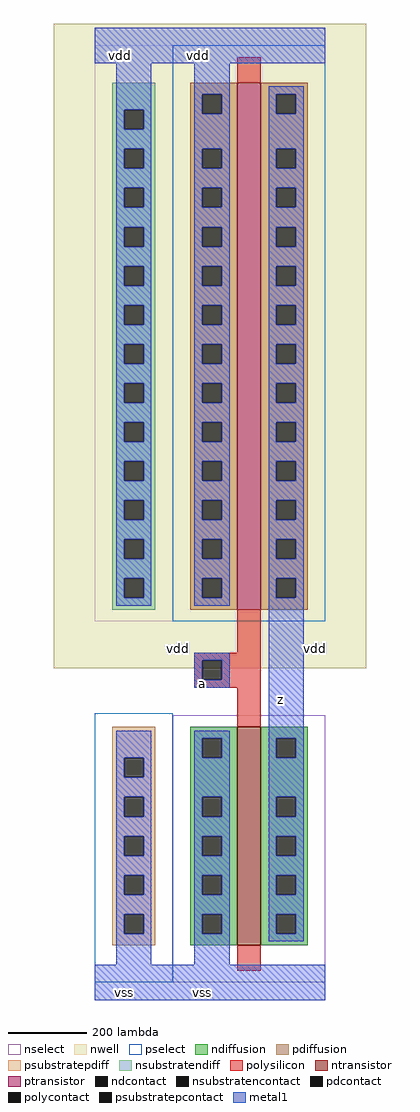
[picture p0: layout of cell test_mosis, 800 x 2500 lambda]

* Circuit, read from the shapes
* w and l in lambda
.subckt test_mosis z a vdd vss
M1 z a vss vss nfet w=560 l=60
M2 z a vdd vdd pfet w=1350 l=60
.ends

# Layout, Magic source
magic
tech amic5n
<< nwell >>
rect -105 805 695 2455
<< ntransistor >>
rect 365 95 425 655
<< ptransistor >>
rect 365 955 425 2305
<< nselect >>
rect 0 925 200 2400
rect 200 0 590 685
<< pselect >>
rect 200 925 590 2400
rect 0 0 200 690
<< ndiffusion >>
rect 245 625 365 655
rect 245 575 275 625
rect 325 575 365 625
rect 245 475 365 575
rect 245 425 275 475
rect 325 425 365 475
rect 245 375 365 425
rect 245 325 275 375
rect 325 325 365 375
rect 245 275 365 325
rect 245 225 275 275
rect 325 225 365 275
rect 245 175 365 225
rect 245 125 275 175
rect 325 125 365 175
rect 245 95 365 125
rect 425 625 545 655
rect 425 575 465 625
rect 515 575 545 625
rect 425 475 545 575
rect 425 425 465 475
rect 515 425 545 475
rect 425 375 545 425
rect 425 325 465 375
rect 515 325 545 375
rect 425 275 545 325
rect 425 225 465 275
rect 515 225 545 275
rect 425 175 545 225
rect 425 125 465 175
rect 515 125 545 175
rect 425 95 545 125
<< pdiffusion >>
rect 245 2275 365 2305
rect 245 2225 275 2275
rect 325 2225 365 2275
rect 245 2135 365 2225
rect 245 2085 275 2135
rect 325 2085 365 2135
rect 245 2035 365 2085
rect 245 1985 275 2035
rect 325 1985 365 2035
rect 245 1935 365 1985
rect 245 1885 275 1935
rect 325 1885 365 1935
rect 245 1835 365 1885
rect 245 1785 275 1835
rect 325 1785 365 1835
rect 245 1735 365 1785
rect 245 1685 275 1735
rect 325 1685 365 1735
rect 245 1635 365 1685
rect 245 1585 275 1635
rect 325 1585 365 1635
rect 245 1535 365 1585
rect 245 1485 275 1535
rect 325 1485 365 1535
rect 245 1435 365 1485
rect 245 1385 275 1435
rect 325 1385 365 1435
rect 245 1335 365 1385
rect 245 1285 275 1335
rect 325 1285 365 1335
rect 245 1235 365 1285
rect 245 1185 275 1235
rect 325 1185 365 1235
rect 245 1135 365 1185
rect 245 1085 275 1135
rect 325 1085 365 1135
rect 245 1035 365 1085
rect 245 985 275 1035
rect 325 985 365 1035
rect 245 955 365 985
rect 425 2275 545 2305
rect 425 2225 465 2275
rect 515 2225 545 2275
rect 425 2135 545 2225
rect 425 2085 465 2135
rect 515 2085 545 2135
rect 425 2035 545 2085
rect 425 1985 465 2035
rect 515 1985 545 2035
rect 425 1935 545 1985
rect 425 1885 465 1935
rect 515 1885 545 1935
rect 425 1835 545 1885
rect 425 1785 465 1835
rect 515 1785 545 1835
rect 425 1735 545 1785
rect 425 1685 465 1735
rect 515 1685 545 1735
rect 425 1635 545 1685
rect 425 1585 465 1635
rect 515 1585 545 1635
rect 425 1535 545 1585
rect 425 1485 465 1535
rect 515 1485 545 1535
rect 425 1435 545 1485
rect 425 1385 465 1435
rect 515 1385 545 1435
rect 425 1335 545 1385
rect 425 1285 465 1335
rect 515 1285 545 1335
rect 425 1235 545 1285
rect 425 1185 465 1235
rect 515 1185 545 1235
rect 425 1135 545 1185
rect 425 1085 465 1135
rect 515 1085 545 1135
rect 425 1035 545 1085
rect 425 985 465 1035
rect 515 985 545 1035
rect 425 955 545 985
<< psubstratepdiff >>
rect 45 575 155 655
rect 45 525 75 575
rect 125 525 155 575
rect 45 475 155 525
rect 45 425 75 475
rect 125 425 155 475
rect 45 375 155 425
rect 45 325 75 375
rect 125 325 155 375
rect 45 275 155 325
rect 45 225 75 275
rect 125 225 155 275
rect 45 175 155 225
rect 45 125 75 175
rect 125 125 155 175
rect 45 95 155 125
<< nsubstratendiff >>
rect 45 2235 155 2305
rect 45 2185 75 2235
rect 125 2185 155 2235
rect 45 2135 155 2185
rect 45 2085 75 2135
rect 125 2085 155 2135
rect 45 2035 155 2085
rect 45 1985 75 2035
rect 125 1985 155 2035
rect 45 1935 155 1985
rect 45 1885 75 1935
rect 125 1885 155 1935
rect 45 1835 155 1885
rect 45 1785 75 1835
rect 125 1785 155 1835
rect 45 1735 155 1785
rect 45 1685 75 1735
rect 125 1685 155 1735
rect 45 1635 155 1685
rect 45 1585 75 1635
rect 125 1585 155 1635
rect 45 1535 155 1585
rect 45 1485 75 1535
rect 125 1485 155 1535
rect 45 1435 155 1485
rect 45 1385 75 1435
rect 125 1385 155 1435
rect 45 1335 155 1385
rect 45 1285 75 1335
rect 125 1285 155 1335
rect 45 1235 155 1285
rect 45 1185 75 1235
rect 125 1185 155 1235
rect 45 1135 155 1185
rect 45 1085 75 1135
rect 125 1085 155 1135
rect 45 1035 155 1085
rect 45 985 75 1035
rect 125 985 155 1035
rect 45 955 155 985
<< nsubstratencontact >>
rect 75 2185 125 2235
rect 75 2085 125 2135
rect 75 1985 125 2035
rect 75 1885 125 1935
rect 75 1785 125 1835
rect 75 1685 125 1735
rect 75 1585 125 1635
rect 75 1485 125 1535
rect 75 1385 125 1435
rect 75 1285 125 1335
rect 75 1185 125 1235
rect 75 1085 125 1135
rect 75 985 125 1035
<< psubstratepcontact >>
rect 75 525 125 575
rect 75 425 125 475
rect 75 325 125 375
rect 75 225 125 275
rect 75 125 125 175
<< ndcontact >>
rect 275 575 325 625
rect 275 425 325 475
rect 275 325 325 375
rect 275 225 325 275
rect 275 125 325 175
rect 465 575 515 625
rect 465 425 515 475
rect 465 325 515 375
rect 465 225 515 275
rect 465 125 515 175
<< pdcontact >>
rect 275 2225 325 2275
rect 275 2085 325 2135
rect 275 1985 325 2035
rect 275 1885 325 1935
rect 275 1785 325 1835
rect 275 1685 325 1735
rect 275 1585 325 1635
rect 275 1485 325 1535
rect 275 1385 325 1435
rect 275 1285 325 1335
rect 275 1185 325 1235
rect 275 1085 325 1135
rect 275 985 325 1035
rect 465 2225 515 2275
rect 465 2085 515 2135
rect 465 1985 515 2035
rect 465 1885 515 1935
rect 465 1785 515 1835
rect 465 1685 515 1735
rect 465 1585 515 1635
rect 465 1485 515 1535
rect 465 1385 515 1435
rect 465 1285 515 1335
rect 465 1185 515 1235
rect 465 1085 515 1135
rect 465 985 515 1035
<< polysilicon >>
rect 365 2305 425 2370
rect 365 845 425 955
rect 255 825 425 845
rect 255 775 275 825
rect 325 775 425 825
rect 255 755 425 775
rect 365 655 425 755
rect 365 30 425 95
<< polycontact >>
rect 275 775 325 825
<< metal1 >>
rect 0 2355 590 2445
rect 55 2235 145 2355
rect 55 2185 75 2235
rect 125 2185 145 2235
rect 55 2135 145 2185
rect 55 2085 75 2135
rect 125 2085 145 2135
rect 55 2035 145 2085
rect 55 1985 75 2035
rect 125 1985 145 2035
rect 55 1935 145 1985
rect 55 1885 75 1935
rect 125 1885 145 1935
rect 55 1835 145 1885
rect 55 1785 75 1835
rect 125 1785 145 1835
rect 55 1735 145 1785
rect 55 1685 75 1735
rect 125 1685 145 1735
rect 55 1635 145 1685
rect 55 1585 75 1635
rect 125 1585 145 1635
rect 55 1535 145 1585
rect 55 1485 75 1535
rect 125 1485 145 1535
rect 55 1435 145 1485
rect 55 1385 75 1435
rect 125 1385 145 1435
rect 55 1335 145 1385
rect 55 1285 75 1335
rect 125 1285 145 1335
rect 55 1235 145 1285
rect 55 1185 75 1235
rect 125 1185 145 1235
rect 55 1135 145 1185
rect 55 1085 75 1135
rect 125 1085 145 1135
rect 55 1035 145 1085
rect 55 985 75 1035
rect 125 985 145 1035
rect 55 965 145 985
rect 255 2275 345 2355
rect 255 2225 275 2275
rect 325 2225 345 2275
rect 255 2135 345 2225
rect 255 2085 275 2135
rect 325 2085 345 2135
rect 255 2035 345 2085
rect 255 1985 275 2035
rect 325 1985 345 2035
rect 255 1935 345 1985
rect 255 1885 275 1935
rect 325 1885 345 1935
rect 255 1835 345 1885
rect 255 1785 275 1835
rect 325 1785 345 1835
rect 255 1735 345 1785
rect 255 1685 275 1735
rect 325 1685 345 1735
rect 255 1635 345 1685
rect 255 1585 275 1635
rect 325 1585 345 1635
rect 255 1535 345 1585
rect 255 1485 275 1535
rect 325 1485 345 1535
rect 255 1435 345 1485
rect 255 1385 275 1435
rect 325 1385 345 1435
rect 255 1335 345 1385
rect 255 1285 275 1335
rect 325 1285 345 1335
rect 255 1235 345 1285
rect 255 1185 275 1235
rect 325 1185 345 1235
rect 255 1135 345 1185
rect 255 1085 275 1135
rect 325 1085 345 1135
rect 255 1035 345 1085
rect 255 985 275 1035
rect 325 985 345 1035
rect 255 965 345 985
rect 445 2275 535 2295
rect 445 2225 465 2275
rect 515 2225 535 2275
rect 445 2135 535 2225
rect 445 2085 465 2135
rect 515 2085 535 2135
rect 445 2035 535 2085
rect 445 1985 465 2035
rect 515 1985 535 2035
rect 445 1935 535 1985
rect 445 1885 465 1935
rect 515 1885 535 1935
rect 445 1835 535 1885
rect 445 1785 465 1835
rect 515 1785 535 1835
rect 445 1735 535 1785
rect 445 1685 465 1735
rect 515 1685 535 1735
rect 445 1635 535 1685
rect 445 1585 465 1635
rect 515 1585 535 1635
rect 445 1535 535 1585
rect 445 1485 465 1535
rect 515 1485 535 1535
rect 445 1435 535 1485
rect 445 1385 465 1435
rect 515 1385 535 1435
rect 445 1335 535 1385
rect 445 1285 465 1335
rect 515 1285 535 1335
rect 445 1235 535 1285
rect 445 1185 465 1235
rect 515 1185 535 1235
rect 445 1135 535 1185
rect 445 1085 465 1135
rect 515 1085 535 1135
rect 445 1035 535 1085
rect 445 985 465 1035
rect 515 985 535 1035
rect 255 825 345 845
rect 255 775 275 825
rect 325 775 345 825
rect 255 755 345 775
rect 55 575 145 645
rect 55 525 75 575
rect 125 525 145 575
rect 55 475 145 525
rect 55 425 75 475
rect 125 425 145 475
rect 55 375 145 425
rect 55 325 75 375
rect 125 325 145 375
rect 55 275 145 325
rect 55 225 75 275
rect 125 225 145 275
rect 55 175 145 225
rect 55 125 75 175
rect 125 125 145 175
rect 55 45 145 125
rect 255 625 345 645
rect 255 575 275 625
rect 325 575 345 625
rect 255 475 345 575
rect 255 425 275 475
rect 325 425 345 475
rect 255 375 345 425
rect 255 325 275 375
rect 325 325 345 375
rect 255 275 345 325
rect 255 225 275 275
rect 325 225 345 275
rect 255 175 345 225
rect 255 125 275 175
rect 325 125 345 175
rect 255 45 345 125
rect 445 625 535 985
rect 445 575 465 625
rect 515 575 535 625
rect 445 475 535 575
rect 445 425 465 475
rect 515 425 535 475
rect 445 375 535 425
rect 445 325 465 375
rect 515 325 535 375
rect 445 275 535 325
rect 445 225 465 275
rect 515 225 535 275
rect 445 175 535 225
rect 445 125 465 175
rect 515 125 535 175
rect 445 105 535 125
rect 0 -45 590 45
<< labels >>
flabel metal1 s 75 -25 75 -25 2 FreeSans 400 0 0 0 vss
port 4 ne
flabel metal1 s 65 2375 65 2375 2 FreeSans 400 0 0 0 vdd
port 3 ne
flabel nwell 215 855 215 855 2 FreeSans 400 0 0 0 vdd
flabel metal1 s 475 725 475 725 2 FreeSans 400 0 0 0 z
port 1 ne
flabel metal1 s 275 -25 275 -25 2 FreeSans 400 0 0 0 vss
port 4 ne
flabel metal1 s 265 2375 265 2375 2 FreeSans 400 0 0 0 vdd
port 3 ne
flabel metal1 s 275 765 275 765 2 FreeSans 400 0 0 0 a
port 2 ne
flabel nwell 565 855 565 855 2 FreeSans 400 0 0 0 vdd
<< end >>
